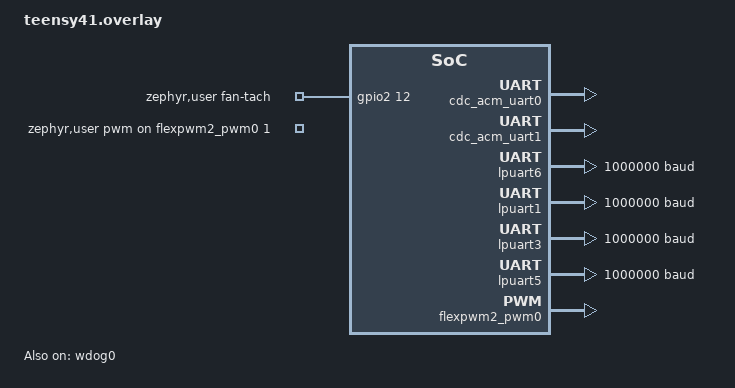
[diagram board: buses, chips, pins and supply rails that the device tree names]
#include <zephyr/dt-bindings/gpio/gpio.h>
#include <zephyr/dt-bindings/pwm/pwm.h>

/*
 * Board-specific wiring from teensy.net.  Pin muxing for these LPUARTs is
 * supplied by Zephyr's Teensy 4.x board support.  OE polarity is deliberately
 * kept in board.c and must still be verified on the assembled PCB.
 */

/ {
  chosen {
    zephyr,console = &cdc_acm_uart0;
  };

  /* J8 fan interface. Pin 33 drives Q1, so the PWM polarity is inverted to
   * make the requested percentage equal the high-duty seen at fan pin 4.
   * Pin 32 receives the open-collector tach signal through R13/R16. */
  zephyr,user {
    pwms = <&flexpwm2_pwm0 1 PWM_USEC(40) PWM_POLARITY_INVERTED>;
    fan-tach-gpios = <&gpio2 12 GPIO_ACTIVE_HIGH>;
  };
};

&pinctrl {
  pinmux_fan_pwm: pinmux_fan_pwm {
    group0 {
      pinmux = <&iomuxc_gpio_emc_07_flexpwm2_pwmb0>;
      drive-strength = "r0-6";
      slew-rate = "slow";
      nxp,speed = "100-mhz";
    };
  };
};

/* CDC ACM must be a child of the USB device controller; declaring it at the
 * root compiles the node but cannot bind it to the Teensy's USB peripheral. */
&zephyr_udc0 {
  cdc_acm_uart0: cdc_acm_uart0 {
    compatible = "zephyr,cdc-acm-uart";
  };
  /* Keep console/log traffic physically separate from the head protocol.
   * Linux normally exposes CDC0 as ttyACM0 and this data interface as
   * ttyACM1. The host bridge connects only to the latter. */
  cdc_acm_uart1: cdc_acm_uart1 {
    compatible = "zephyr,cdc-acm-uart";
  };
};

&lpuart6 { status = "okay"; current-speed = <1000000>; }; /* J1: pins 0/1 */
&lpuart1 { status = "okay"; current-speed = <1000000>; }; /* J2: pins 25/24 */
&lpuart3 { status = "okay"; current-speed = <1000000>; }; /* J3: pins 16/17 */
&lpuart5 { status = "okay"; current-speed = <1000000>; }; /* J4: pins 34/35 */

/* Internal reset watchdog; no external WDOG_B pin is required. */
&wdog0 { status = "okay"; };

/* Teensy pin 33 is FLEXPWM2_PWMB0, which is channel 1 (the B output) of
 * submodule 0. A low prescaler retains useful duty-cycle resolution at
 * Noctua's required 25 kHz control frequency. */
&flexpwm2_pwm0 {
  pinctrl-0 = <&pinmux_fan_pwm>;
  pinctrl-names = "default";
  nxp,prescaler = <1>;
  status = "okay";
};

/* Reserve the final 192 KiB of the 8 MiB QSPI flash for three NVS sectors.
 * The production linker/flash procedure must preserve this partition. */
&w25q64jvxgim {
  partitions {
    compatible = "fixed-partitions";
    #address-cells = <1>;
    #size-cells = <1>;
    storage_partition: partition@7d0000 {
      label = "storage";
      reg = <0x007d0000 0x00030000>;
    };
  };
};
